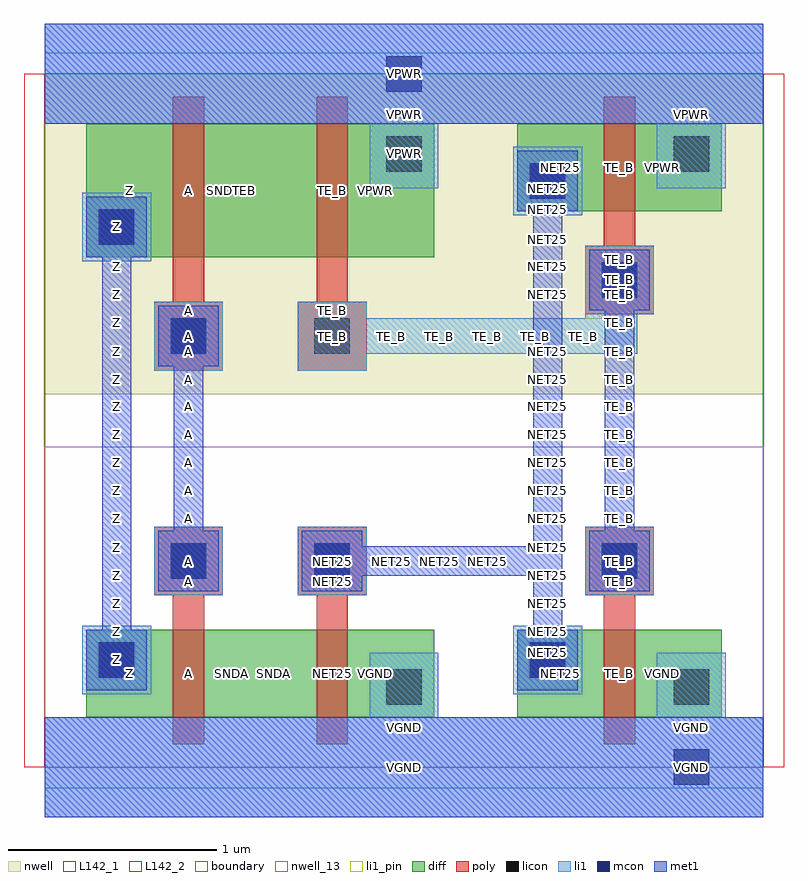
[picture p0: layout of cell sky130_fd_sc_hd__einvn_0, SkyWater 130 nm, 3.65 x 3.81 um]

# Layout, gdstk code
import gdstk
lib = gdstk.Library(unit=1e-6, precision=1e-09)
def R(c, l, rs):  # rectangles x0, y0, x1, y1
    for r in rs: c.add(gdstk.rectangle(r[:2], r[2:], *l))
def P(c, l, *ps):  # polygons
    for p in ps: c.add(gdstk.Polygon(p, *l))
nwell_13 = (64, 13)
nwell = (64, 20)
diff = (65, 20)
poly = (66, 20)
licon = (66, 44)
li1_pin = (67, 16)
li1 = (67, 20)
mcon = (67, 44)
met1 = (68, 20)
L142_1 = (142, 1)
L142_2 = (142, 2)
boundary = (235, 4)

sky130_fd_sc_hd__einvn_0 = lib.new_cell('sky130_fd_sc_hd__einvn_0')
R(sky130_fd_sc_hd__einvn_0, nwell_13, [(0,0,3.45,1.54)])
R(sky130_fd_sc_hd__einvn_0, nwell, [(0,1.79,3.45,3.33)])
R(sky130_fd_sc_hd__einvn_0, diff, [(0.2,0.24,1.87,0.66), (0.2,0.24,0.615,0.66), (0.615,0.24,1.305,0.66), (1.305,0.24,1.87,0.66), (2.27,0.24,3.25,0.66), (2.27,0.24,2.685,0.66), (2.685,0.24,3.25,0.66), (0.2,2.45,1.87,3.09), (0.2,2.45,0.615,3.09), (0.615,2.45,1.305,3.09), (1.305,2.45,1.87,3.09), (2.27,2.67,3.25,3.09), (2.27,2.67,2.685,3.09), (2.685,2.67,3.25,3.09)])
P(sky130_fd_sc_hd__einvn_0, poly, [(2.685,0.11),(2.685,0.825),(2.595,0.825),(2.595,1.155),(2.925,1.155),(2.925,0.825),(2.835,0.825),(2.835,0.11)],
  [(1.215,1.905),(1.215,2.235),(1.305,2.235),(1.305,3.22),(1.455,3.22),(1.455,2.235),(1.545,2.235),(1.545,1.905)],
  [(2.595,2.175),(2.595,2.505),(2.685,2.505),(2.685,3.22),(2.835,3.22),(2.835,2.505),(2.925,2.505),(2.925,2.175)],
  [(1.305,0.11),(1.305,0.825),(1.215,0.825),(1.215,1.155),(1.545,1.155),(1.545,0.825),(1.455,0.825),(1.455,0.11)],
  [(0.615,0.11),(0.615,0.825),(0.525,0.825),(0.525,1.155),(0.855,1.155),(0.855,0.825),(0.765,0.825),(0.765,0.11)],
  [(0.525,1.905),(0.525,2.235),(0.615,2.235),(0.615,3.22),(0.765,3.22),(0.765,2.235),(0.855,2.235),(0.855,1.905)])
R(sky130_fd_sc_hd__einvn_0, licon, [(1.64,0.3,1.81,0.47), (3.02,0.3,3.19,0.47), (0.26,0.43,0.43,0.6), (2.33,0.43,2.5,0.6), (0.605,0.905,0.775,1.075), (1.295,0.905,1.465,1.075), (2.675,0.905,2.845,1.075), (0.605,1.985,0.775,2.155), (1.295,1.985,1.465,2.155), (2.675,2.255,2.845,2.425), (0.26,2.51,0.43,2.68), (2.33,2.73,2.5,2.9), (1.64,2.86,1.81,3.03), (3.02,2.86,3.19,3.03)])
R(sky130_fd_sc_hd__einvn_0, li1_pin, [(0,-0.24,3.45,0.24), (0.18,0.35,0.51,0.68), (0.525,1.905,0.855,2.235), (0,3.09,3.45,3.57)])
P(sky130_fd_sc_hd__einvn_0, li1_pin, [(1.215,1.905),(1.215,2.235),(1.545,2.235),(1.545,2.155),(2.675,2.155),(2.675,2.175),(2.595,2.175),(2.595,2.505),(2.925,2.505),(2.925,2.175),(2.845,2.175),(2.845,1.985),(1.545,1.985),(1.545,1.905)])
R(sky130_fd_sc_hd__einvn_0, li1, [(0.18,0.35,0.51,0.68), (2.25,0.35,2.58,0.68), (0.525,0.825,0.855,1.155), (1.215,0.825,1.545,1.155), (2.595,0.825,2.925,1.155), (0.525,1.905,0.855,2.235), (2.595,2.155,2.675,2.175), (0.18,2.43,0.51,2.76), (2.25,2.65,2.58,2.98)])
P(sky130_fd_sc_hd__einvn_0, li1, [(1.56,2.78),(1.56,3.09),(0,3.09),(0,3.57),(3.45,3.57),(3.45,3.09),(3.27,3.09),(3.27,2.78),(2.94,2.78),(2.94,3.09),(1.89,3.09),(1.89,2.78)],
  [(0,-0.24),(0,0.24),(1.56,0.24),(1.56,0.55),(1.89,0.55),(1.89,0.24),(2.94,0.24),(2.94,0.55),(3.27,0.55),(3.27,0.24),(3.45,0.24),(3.45,-0.24)],
  [(1.215,1.905),(1.215,2.235),(1.545,2.235),(1.545,2.155),(2.675,2.155),(2.675,2.175),(2.595,2.175),(2.595,2.505),(2.925,2.505),(2.925,2.175),(2.845,2.175),(2.845,1.985),(1.545,1.985),(1.545,1.905)])
R(sky130_fd_sc_hd__einvn_0, mcon, [(3.02,-0.085,3.19,0.085), (0.26,0.43,0.43,0.6), (2.33,0.43,2.5,0.6), (0.605,0.905,0.775,1.075), (1.295,0.905,1.465,1.075), (2.675,0.905,2.845,1.075), (0.605,1.985,0.775,2.155), (2.675,2.255,2.845,2.425), (0.26,2.51,0.43,2.68), (2.33,2.73,2.5,2.9), (1.64,3.245,1.81,3.415)])
R(sky130_fd_sc_hd__einvn_0, met1, [(0,-0.24,3.45,0.24), (0,3.09,3.45,3.57)])
P(sky130_fd_sc_hd__einvn_0, met1, [(2.615,0.845),(2.615,1.135),(2.69,1.135),(2.69,2.195),(2.615,2.195),(2.615,2.485),(2.905,2.485),(2.905,2.195),(2.83,2.195),(2.83,1.135),(2.905,1.135),(2.905,0.845)],
  [(2.27,0.37),(2.27,0.66),(2.345,0.66),(2.345,0.92),(1.525,0.92),(1.525,0.845),(1.235,0.845),(1.235,1.135),(1.525,1.135),(1.525,1.06),(2.345,1.06),(2.345,2.67),(2.27,2.67),(2.27,2.96),(2.56,2.96),(2.56,2.67),(2.485,2.67),(2.485,0.66),(2.56,0.66),(2.56,0.37)],
  [(0.545,0.845),(0.545,1.135),(0.62,1.135),(0.62,1.925),(0.545,1.925),(0.545,2.215),(0.835,2.215),(0.835,1.925),(0.76,1.925),(0.76,1.135),(0.835,1.135),(0.835,0.845)],
  [(0.2,0.37),(0.2,0.66),(0.275,0.66),(0.275,2.45),(0.2,2.45),(0.2,2.74),(0.49,2.74),(0.49,2.45),(0.415,2.45),(0.415,0.66),(0.49,0.66),(0.49,0.37)])
R(sky130_fd_sc_hd__einvn_0, L142_1, [(0,-0.1,3.45,0), (0,3.33,3.45,3.43)])
R(sky130_fd_sc_hd__einvn_0, L142_2, [(-0.1,0,0,3.33), (3.45,0,3.55,3.33)])
R(sky130_fd_sc_hd__einvn_0, boundary, [(0,0,3.45,3.33)])
sky130_fd_sc_hd__einvn_0.add(gdstk.Label('NET25', (2.477,0.45), layer=65, texttype=20))
sky130_fd_sc_hd__einvn_0.add(gdstk.Label('VGND', (2.967,0.45), layer=65, texttype=20))
sky130_fd_sc_hd__einvn_0.add(gdstk.Label('Z', (0.407,0.45), layer=65, texttype=20))
sky130_fd_sc_hd__einvn_0.add(gdstk.Label('SNDA', (0.897,0.45), layer=65, texttype=20))
sky130_fd_sc_hd__einvn_0.add(gdstk.Label('SNDA', (1.097,0.45), layer=65, texttype=20))
sky130_fd_sc_hd__einvn_0.add(gdstk.Label('VGND', (1.587,0.45), layer=65, texttype=20))
sky130_fd_sc_hd__einvn_0.add(gdstk.Label('NET25', (2.477,0.45), layer=65, texttype=20))
sky130_fd_sc_hd__einvn_0.add(gdstk.Label('VGND', (2.967,0.45), layer=65, texttype=20))
sky130_fd_sc_hd__einvn_0.add(gdstk.Label('Z', (0.407,0.45), layer=65, texttype=20))
sky130_fd_sc_hd__einvn_0.add(gdstk.Label('SNDA', (0.897,0.45), layer=65, texttype=20))
sky130_fd_sc_hd__einvn_0.add(gdstk.Label('SNDA', (1.097,0.45), layer=65, texttype=20))
sky130_fd_sc_hd__einvn_0.add(gdstk.Label('VGND', (1.587,0.45), layer=65, texttype=20))
sky130_fd_sc_hd__einvn_0.add(gdstk.Label('NET25', (2.415,0.515), layer=65, texttype=20))
sky130_fd_sc_hd__einvn_0.add(gdstk.Label('VGND', (3.105,0.385), layer=65, texttype=20))
sky130_fd_sc_hd__einvn_0.add(gdstk.Label('VGND', (1.725,0.385), layer=65, texttype=20))
sky130_fd_sc_hd__einvn_0.add(gdstk.Label('Z', (0.345,0.515), layer=65, texttype=20))
sky130_fd_sc_hd__einvn_0.add(gdstk.Label('Z', (0.407,2.77), layer=65, texttype=20))
sky130_fd_sc_hd__einvn_0.add(gdstk.Label('SNDTEB', (0.897,2.77), layer=65, texttype=20))
sky130_fd_sc_hd__einvn_0.add(gdstk.Label('SNDTEB', (1.097,2.77), layer=65, texttype=20))
sky130_fd_sc_hd__einvn_0.add(gdstk.Label('VPWR', (1.587,2.77), layer=65, texttype=20))
sky130_fd_sc_hd__einvn_0.add(gdstk.Label('NET25', (2.477,2.88), layer=65, texttype=20))
sky130_fd_sc_hd__einvn_0.add(gdstk.Label('VPWR', (2.967,2.88), layer=65, texttype=20))
sky130_fd_sc_hd__einvn_0.add(gdstk.Label('Z', (0.407,2.77), layer=65, texttype=20))
sky130_fd_sc_hd__einvn_0.add(gdstk.Label('SNDTEB', (0.897,2.77), layer=65, texttype=20))
sky130_fd_sc_hd__einvn_0.add(gdstk.Label('SNDTEB', (1.097,2.77), layer=65, texttype=20))
sky130_fd_sc_hd__einvn_0.add(gdstk.Label('VPWR', (1.587,2.77), layer=65, texttype=20))
sky130_fd_sc_hd__einvn_0.add(gdstk.Label('NET25', (2.477,2.88), layer=65, texttype=20))
sky130_fd_sc_hd__einvn_0.add(gdstk.Label('VPWR', (2.967,2.88), layer=65, texttype=20))
sky130_fd_sc_hd__einvn_0.add(gdstk.Label('NET25', (2.415,2.815), layer=65, texttype=20))
sky130_fd_sc_hd__einvn_0.add(gdstk.Label('Z', (0.345,2.595), layer=65, texttype=20))
sky130_fd_sc_hd__einvn_0.add(gdstk.Label('VPWR', (1.725,2.945), layer=65, texttype=20))
sky130_fd_sc_hd__einvn_0.add(gdstk.Label('VPWR', (3.105,2.945), layer=65, texttype=20))
sky130_fd_sc_hd__einvn_0.add(gdstk.Label('TE_B', (2.76,0.45), layer=66, texttype=20))
sky130_fd_sc_hd__einvn_0.add(gdstk.Label('A', (0.69,0.45), layer=66, texttype=20))
sky130_fd_sc_hd__einvn_0.add(gdstk.Label('A', (0.69,2.77), layer=66, texttype=20))
sky130_fd_sc_hd__einvn_0.add(gdstk.Label('TE_B', (1.38,2.77), layer=66, texttype=20))
sky130_fd_sc_hd__einvn_0.add(gdstk.Label('NET25', (1.38,0.45), layer=66, texttype=20))
sky130_fd_sc_hd__einvn_0.add(gdstk.Label('TE_B', (2.76,2.88), layer=66, texttype=20))
sky130_fd_sc_hd__einvn_0.add(gdstk.Label('TE_B', (2.76,0.45), layer=66, texttype=20))
sky130_fd_sc_hd__einvn_0.add(gdstk.Label('A', (0.69,0.45), layer=66, texttype=20))
sky130_fd_sc_hd__einvn_0.add(gdstk.Label('A', (0.69,2.77), layer=66, texttype=20))
sky130_fd_sc_hd__einvn_0.add(gdstk.Label('TE_B', (1.38,2.77), layer=66, texttype=20))
sky130_fd_sc_hd__einvn_0.add(gdstk.Label('NET25', (1.38,0.45), layer=66, texttype=20))
sky130_fd_sc_hd__einvn_0.add(gdstk.Label('TE_B', (2.76,2.88), layer=66, texttype=20))
sky130_fd_sc_hd__einvn_0.add(gdstk.Label('NET25', (1.38,0.89), layer=66, texttype=20))
sky130_fd_sc_hd__einvn_0.add(gdstk.Label('TE_B', (2.76,0.89), layer=66, texttype=20))
sky130_fd_sc_hd__einvn_0.add(gdstk.Label('TE_B', (2.76,2.44), layer=66, texttype=20))
sky130_fd_sc_hd__einvn_0.add(gdstk.Label('TE_B', (1.38,2.195), layer=66, texttype=20))
sky130_fd_sc_hd__einvn_0.add(gdstk.Label('A', (0.69,0.89), layer=66, texttype=20))
sky130_fd_sc_hd__einvn_0.add(gdstk.Label('A', (0.69,2.195), layer=66, texttype=20))
sky130_fd_sc_hd__einvn_0.add(gdstk.Label('NET25', (1.38,0.99), layer=66, texttype=20))
sky130_fd_sc_hd__einvn_0.add(gdstk.Label('TE_B', (2.76,0.99), layer=66, texttype=20))
sky130_fd_sc_hd__einvn_0.add(gdstk.Label('TE_B', (2.76,2.34), layer=66, texttype=20))
sky130_fd_sc_hd__einvn_0.add(gdstk.Label('TE_B', (1.38,2.07), layer=66, texttype=20))
sky130_fd_sc_hd__einvn_0.add(gdstk.Label('A', (0.69,0.99), layer=66, texttype=20))
sky130_fd_sc_hd__einvn_0.add(gdstk.Label('A', (0.69,2.07), layer=66, texttype=20))
sky130_fd_sc_hd__einvn_0.add(gdstk.Label('NET25', (2.415,2.815), layer=66, texttype=44))
sky130_fd_sc_hd__einvn_0.add(gdstk.Label('Z', (0.345,2.595), layer=66, texttype=44))
sky130_fd_sc_hd__einvn_0.add(gdstk.Label('VPWR', (1.725,2.945), layer=66, texttype=44))
sky130_fd_sc_hd__einvn_0.add(gdstk.Label('VPWR', (3.105,2.945), layer=66, texttype=44))
sky130_fd_sc_hd__einvn_0.add(gdstk.Label('NET25', (2.415,0.515), layer=66, texttype=44))
sky130_fd_sc_hd__einvn_0.add(gdstk.Label('VGND', (3.105,0.385), layer=66, texttype=44))
sky130_fd_sc_hd__einvn_0.add(gdstk.Label('VGND', (1.725,0.385), layer=66, texttype=44))
sky130_fd_sc_hd__einvn_0.add(gdstk.Label('Z', (0.345,0.515), layer=66, texttype=44))
sky130_fd_sc_hd__einvn_0.add(gdstk.Label('NET25', (1.38,0.99), layer=66, texttype=44))
sky130_fd_sc_hd__einvn_0.add(gdstk.Label('TE_B', (2.76,0.99), layer=66, texttype=44))
sky130_fd_sc_hd__einvn_0.add(gdstk.Label('TE_B', (2.76,2.34), layer=66, texttype=44))
sky130_fd_sc_hd__einvn_0.add(gdstk.Label('TE_B', (1.38,2.07), layer=66, texttype=44))
sky130_fd_sc_hd__einvn_0.add(gdstk.Label('A', (0.69,0.99), layer=66, texttype=44))
sky130_fd_sc_hd__einvn_0.add(gdstk.Label('A', (0.69,2.07), layer=66, texttype=44))
sky130_fd_sc_hd__einvn_0.add(gdstk.Label('VPWR', (1.725,3.33), layer=67, texttype=20))
sky130_fd_sc_hd__einvn_0.add(gdstk.Label('VGND', (1.725,0), layer=67, texttype=20))
sky130_fd_sc_hd__einvn_0.add(gdstk.Label('VPWR', (1.725,3.33), layer=67, texttype=20))
sky130_fd_sc_hd__einvn_0.add(gdstk.Label('VGND', (1.725,0), layer=67, texttype=20))
sky130_fd_sc_hd__einvn_0.add(gdstk.Label('VGND', (3.105,0.192), layer=67, texttype=20))
sky130_fd_sc_hd__einvn_0.add(gdstk.Label('VGND', (1.725,0.192), layer=67, texttype=20))
sky130_fd_sc_hd__einvn_0.add(gdstk.Label('VPWR', (1.725,3.137), layer=67, texttype=20))
sky130_fd_sc_hd__einvn_0.add(gdstk.Label('VPWR', (3.105,3.137), layer=67, texttype=20))
sky130_fd_sc_hd__einvn_0.add(gdstk.Label('TE_B', (2.76,2.272), layer=67, texttype=20))
sky130_fd_sc_hd__einvn_0.add(gdstk.Label('TE_B', (2.76,2.137), layer=67, texttype=20))
sky130_fd_sc_hd__einvn_0.add(gdstk.Label('TE_B', (2.702,2.07), layer=67, texttype=20))
sky130_fd_sc_hd__einvn_0.add(gdstk.Label('TE_B', (2.587,2.07), layer=67, texttype=20))
sky130_fd_sc_hd__einvn_0.add(gdstk.Label('TE_B', (2.472,2.07), layer=67, texttype=20))
sky130_fd_sc_hd__einvn_0.add(gdstk.Label('TE_B', (2.357,2.07), layer=67, texttype=20))
sky130_fd_sc_hd__einvn_0.add(gdstk.Label('TE_B', (2.242,2.07), layer=67, texttype=20))
sky130_fd_sc_hd__einvn_0.add(gdstk.Label('TE_B', (2.127,2.07), layer=67, texttype=20))
sky130_fd_sc_hd__einvn_0.add(gdstk.Label('TE_B', (2.012,2.07), layer=67, texttype=20))
sky130_fd_sc_hd__einvn_0.add(gdstk.Label('TE_B', (1.897,2.07), layer=67, texttype=20))
sky130_fd_sc_hd__einvn_0.add(gdstk.Label('TE_B', (1.782,2.07), layer=67, texttype=20))
sky130_fd_sc_hd__einvn_0.add(gdstk.Label('TE_B', (1.667,2.07), layer=67, texttype=20))
sky130_fd_sc_hd__einvn_0.add(gdstk.Label('TE_B', (1.552,2.07), layer=67, texttype=20))
sky130_fd_sc_hd__einvn_0.add(gdstk.Label('TE_B', (1.437,2.07), layer=67, texttype=20))
sky130_fd_sc_hd__einvn_0.add(gdstk.Label('NET25', (2.415,0.515), layer=67, texttype=20))
sky130_fd_sc_hd__einvn_0.add(gdstk.Label('NET25', (2.415,0.515), layer=67, texttype=20))
sky130_fd_sc_hd__einvn_0.add(gdstk.Label('NET25', (2.415,2.815), layer=67, texttype=20))
sky130_fd_sc_hd__einvn_0.add(gdstk.Label('NET25', (2.415,2.815), layer=67, texttype=20))
sky130_fd_sc_hd__einvn_0.add(gdstk.Label('NET25', (1.38,0.99), layer=67, texttype=20))
sky130_fd_sc_hd__einvn_0.add(gdstk.Label('NET25', (1.38,0.99), layer=67, texttype=20))
sky130_fd_sc_hd__einvn_0.add(gdstk.Label('VGND', (3.105,0.385), layer=67, texttype=20))
sky130_fd_sc_hd__einvn_0.add(gdstk.Label('VGND', (3.105,0), layer=67, texttype=20))
sky130_fd_sc_hd__einvn_0.add(gdstk.Label('VGND', (1.725,0.385), layer=67, texttype=20))
sky130_fd_sc_hd__einvn_0.add(gdstk.Label('Z', (0.345,0.515), layer=67, texttype=20))
sky130_fd_sc_hd__einvn_0.add(gdstk.Label('Z', (0.345,0.515), layer=67, texttype=20))
sky130_fd_sc_hd__einvn_0.add(gdstk.Label('Z', (0.345,2.595), layer=67, texttype=20))
sky130_fd_sc_hd__einvn_0.add(gdstk.Label('Z', (0.345,2.595), layer=67, texttype=20))
sky130_fd_sc_hd__einvn_0.add(gdstk.Label('VPWR', (1.725,2.945), layer=67, texttype=20))
sky130_fd_sc_hd__einvn_0.add(gdstk.Label('VPWR', (1.725,3.33), layer=67, texttype=20))
sky130_fd_sc_hd__einvn_0.add(gdstk.Label('VPWR', (3.105,2.945), layer=67, texttype=20))
sky130_fd_sc_hd__einvn_0.add(gdstk.Label('TE_B', (2.76,0.99), layer=67, texttype=20))
sky130_fd_sc_hd__einvn_0.add(gdstk.Label('TE_B', (2.76,0.99), layer=67, texttype=20))
sky130_fd_sc_hd__einvn_0.add(gdstk.Label('TE_B', (2.76,2.34), layer=67, texttype=20))
sky130_fd_sc_hd__einvn_0.add(gdstk.Label('TE_B', (2.76,2.34), layer=67, texttype=20))
sky130_fd_sc_hd__einvn_0.add(gdstk.Label('TE_B', (1.38,2.07), layer=67, texttype=20))
sky130_fd_sc_hd__einvn_0.add(gdstk.Label('A', (0.69,0.99), layer=67, texttype=20))
sky130_fd_sc_hd__einvn_0.add(gdstk.Label('A', (0.69,0.99), layer=67, texttype=20))
sky130_fd_sc_hd__einvn_0.add(gdstk.Label('A', (0.69,2.07), layer=67, texttype=20))
sky130_fd_sc_hd__einvn_0.add(gdstk.Label('A', (0.69,2.07), layer=67, texttype=20))
sky130_fd_sc_hd__einvn_0.add(gdstk.Label('Z', (0.345,0.515), layer=67, texttype=5))
sky130_fd_sc_hd__einvn_0.add(gdstk.Label('TE_B', (1.38,2.07), layer=67, texttype=5))
sky130_fd_sc_hd__einvn_0.add(gdstk.Label('A', (0.69,2.07), layer=67, texttype=5))
sky130_fd_sc_hd__einvn_0.add(gdstk.Label('VGND', (1.725,0), layer=67, texttype=5))
sky130_fd_sc_hd__einvn_0.add(gdstk.Label('VPWR', (1.725,3.33), layer=67, texttype=5))
sky130_fd_sc_hd__einvn_0.add(gdstk.Label('NET25', (2.415,0.515), layer=67, texttype=44))
sky130_fd_sc_hd__einvn_0.add(gdstk.Label('NET25', (2.415,2.815), layer=67, texttype=44))
sky130_fd_sc_hd__einvn_0.add(gdstk.Label('NET25', (1.38,0.99), layer=67, texttype=44))
sky130_fd_sc_hd__einvn_0.add(gdstk.Label('VGND', (3.105,0), layer=67, texttype=44))
sky130_fd_sc_hd__einvn_0.add(gdstk.Label('Z', (0.345,0.515), layer=67, texttype=44))
sky130_fd_sc_hd__einvn_0.add(gdstk.Label('Z', (0.345,2.595), layer=67, texttype=44))
sky130_fd_sc_hd__einvn_0.add(gdstk.Label('VPWR', (1.725,3.33), layer=67, texttype=44))
sky130_fd_sc_hd__einvn_0.add(gdstk.Label('TE_B', (2.76,0.99), layer=67, texttype=44))
sky130_fd_sc_hd__einvn_0.add(gdstk.Label('TE_B', (2.76,2.34), layer=67, texttype=44))
sky130_fd_sc_hd__einvn_0.add(gdstk.Label('A', (0.69,0.99), layer=67, texttype=44))
sky130_fd_sc_hd__einvn_0.add(gdstk.Label('A', (0.69,2.07), layer=67, texttype=44))
sky130_fd_sc_hd__einvn_0.add(gdstk.Label('VPWR', (1.725,3.33), layer=68, texttype=20))
sky130_fd_sc_hd__einvn_0.add(gdstk.Label('VGND', (1.725,0), layer=68, texttype=20))
sky130_fd_sc_hd__einvn_0.add(gdstk.Label('VPWR', (1.725,3.33), layer=68, texttype=20))
sky130_fd_sc_hd__einvn_0.add(gdstk.Label('VGND', (1.725,0), layer=68, texttype=20))
sky130_fd_sc_hd__einvn_0.add(gdstk.Label('NET25', (2.415,0.55), layer=68, texttype=20))
sky130_fd_sc_hd__einvn_0.add(gdstk.Label('NET25', (2.415,0.652), layer=68, texttype=20))
sky130_fd_sc_hd__einvn_0.add(gdstk.Label('NET25', (2.415,0.787), layer=68, texttype=20))
sky130_fd_sc_hd__einvn_0.add(gdstk.Label('NET25', (2.415,0.922), layer=68, texttype=20))
sky130_fd_sc_hd__einvn_0.add(gdstk.Label('NET25', (2.415,1.057), layer=68, texttype=20))
sky130_fd_sc_hd__einvn_0.add(gdstk.Label('NET25', (2.357,0.99), layer=68, texttype=20))
sky130_fd_sc_hd__einvn_0.add(gdstk.Label('NET25', (2.415,1.192), layer=68, texttype=20))
sky130_fd_sc_hd__einvn_0.add(gdstk.Label('NET25', (2.415,1.327), layer=68, texttype=20))
sky130_fd_sc_hd__einvn_0.add(gdstk.Label('NET25', (2.415,1.462), layer=68, texttype=20))
sky130_fd_sc_hd__einvn_0.add(gdstk.Label('NET25', (2.415,1.597), layer=68, texttype=20))
sky130_fd_sc_hd__einvn_0.add(gdstk.Label('NET25', (2.415,1.732), layer=68, texttype=20))
sky130_fd_sc_hd__einvn_0.add(gdstk.Label('NET25', (2.415,1.862), layer=68, texttype=20))
sky130_fd_sc_hd__einvn_0.add(gdstk.Label('NET25', (2.415,1.997), layer=68, texttype=20))
sky130_fd_sc_hd__einvn_0.add(gdstk.Label('NET25', (2.415,2.137), layer=68, texttype=20))
sky130_fd_sc_hd__einvn_0.add(gdstk.Label('NET25', (2.415,2.272), layer=68, texttype=20))
sky130_fd_sc_hd__einvn_0.add(gdstk.Label('NET25', (2.415,2.407), layer=68, texttype=20))
sky130_fd_sc_hd__einvn_0.add(gdstk.Label('NET25', (2.415,2.535), layer=68, texttype=20))
sky130_fd_sc_hd__einvn_0.add(gdstk.Label('NET25', (2.415,2.602), layer=68, texttype=20))
sky130_fd_sc_hd__einvn_0.add(gdstk.Label('NET25', (2.415,2.677), layer=68, texttype=20))
sky130_fd_sc_hd__einvn_0.add(gdstk.Label('NET25', (2.415,2.78), layer=68, texttype=20))
sky130_fd_sc_hd__einvn_0.add(gdstk.Label('NET25', (2.242,0.99), layer=68, texttype=20))
sky130_fd_sc_hd__einvn_0.add(gdstk.Label('NET25', (2.127,0.99), layer=68, texttype=20))
sky130_fd_sc_hd__einvn_0.add(gdstk.Label('NET25', (2.012,0.99), layer=68, texttype=20))
sky130_fd_sc_hd__einvn_0.add(gdstk.Label('NET25', (1.897,0.99), layer=68, texttype=20))
sky130_fd_sc_hd__einvn_0.add(gdstk.Label('NET25', (1.782,0.99), layer=68, texttype=20))
sky130_fd_sc_hd__einvn_0.add(gdstk.Label('NET25', (1.667,0.99), layer=68, texttype=20))
sky130_fd_sc_hd__einvn_0.add(gdstk.Label('NET25', (1.552,0.99), layer=68, texttype=20))
sky130_fd_sc_hd__einvn_0.add(gdstk.Label('NET25', (1.437,0.99), layer=68, texttype=20))
sky130_fd_sc_hd__einvn_0.add(gdstk.Label('Z', (0.345,0.55), layer=68, texttype=20))
sky130_fd_sc_hd__einvn_0.add(gdstk.Label('Z', (0.345,0.652), layer=68, texttype=20))
sky130_fd_sc_hd__einvn_0.add(gdstk.Label('Z', (0.345,0.787), layer=68, texttype=20))
sky130_fd_sc_hd__einvn_0.add(gdstk.Label('Z', (0.345,0.922), layer=68, texttype=20))
sky130_fd_sc_hd__einvn_0.add(gdstk.Label('Z', (0.345,1.057), layer=68, texttype=20))
sky130_fd_sc_hd__einvn_0.add(gdstk.Label('Z', (0.345,1.192), layer=68, texttype=20))
sky130_fd_sc_hd__einvn_0.add(gdstk.Label('Z', (0.345,1.327), layer=68, texttype=20))
sky130_fd_sc_hd__einvn_0.add(gdstk.Label('Z', (0.345,1.462), layer=68, texttype=20))
sky130_fd_sc_hd__einvn_0.add(gdstk.Label('Z', (0.345,1.597), layer=68, texttype=20))
sky130_fd_sc_hd__einvn_0.add(gdstk.Label('Z', (0.345,1.732), layer=68, texttype=20))
sky130_fd_sc_hd__einvn_0.add(gdstk.Label('Z', (0.345,1.862), layer=68, texttype=20))
sky130_fd_sc_hd__einvn_0.add(gdstk.Label('Z', (0.345,1.997), layer=68, texttype=20))
sky130_fd_sc_hd__einvn_0.add(gdstk.Label('Z', (0.345,2.137), layer=68, texttype=20))
sky130_fd_sc_hd__einvn_0.add(gdstk.Label('Z', (0.345,2.272), layer=68, texttype=20))
sky130_fd_sc_hd__einvn_0.add(gdstk.Label('Z', (0.345,2.407), layer=68, texttype=20))
sky130_fd_sc_hd__einvn_0.add(gdstk.Label('Z', (0.345,2.535), layer=68, texttype=20))
sky130_fd_sc_hd__einvn_0.add(gdstk.Label('TE_B', (2.76,1.057), layer=68, texttype=20))
sky130_fd_sc_hd__einvn_0.add(gdstk.Label('TE_B', (2.76,1.192), layer=68, texttype=20))
sky130_fd_sc_hd__einvn_0.add(gdstk.Label('TE_B', (2.76,1.327), layer=68, texttype=20))
sky130_fd_sc_hd__einvn_0.add(gdstk.Label('TE_B', (2.76,1.462), layer=68, texttype=20))
sky130_fd_sc_hd__einvn_0.add(gdstk.Label('TE_B', (2.76,1.597), layer=68, texttype=20))
sky130_fd_sc_hd__einvn_0.add(gdstk.Label('TE_B', (2.76,1.732), layer=68, texttype=20))
sky130_fd_sc_hd__einvn_0.add(gdstk.Label('TE_B', (2.76,1.862), layer=68, texttype=20))
sky130_fd_sc_hd__einvn_0.add(gdstk.Label('TE_B', (2.76,1.997), layer=68, texttype=20))
sky130_fd_sc_hd__einvn_0.add(gdstk.Label('TE_B', (2.76,2.137), layer=68, texttype=20))
sky130_fd_sc_hd__einvn_0.add(gdstk.Label('TE_B', (2.76,2.272), layer=68, texttype=20))
sky130_fd_sc_hd__einvn_0.add(gdstk.Label('A', (0.69,1.057), layer=68, texttype=20))
sky130_fd_sc_hd__einvn_0.add(gdstk.Label('A', (0.69,1.192), layer=68, texttype=20))
sky130_fd_sc_hd__einvn_0.add(gdstk.Label('A', (0.69,1.327), layer=68, texttype=20))
sky130_fd_sc_hd__einvn_0.add(gdstk.Label('A', (0.69,1.462), layer=68, texttype=20))
sky130_fd_sc_hd__einvn_0.add(gdstk.Label('A', (0.69,1.597), layer=68, texttype=20))
sky130_fd_sc_hd__einvn_0.add(gdstk.Label('A', (0.69,1.732), layer=68, texttype=20))
sky130_fd_sc_hd__einvn_0.add(gdstk.Label('A', (0.69,1.862), layer=68, texttype=20))
sky130_fd_sc_hd__einvn_0.add(gdstk.Label('A', (0.69,1.997), layer=68, texttype=20))
sky130_fd_sc_hd__einvn_0.add(gdstk.Label('NET25', (2.415,0.515), layer=68, texttype=20))
sky130_fd_sc_hd__einvn_0.add(gdstk.Label('NET25', (2.415,2.815), layer=68, texttype=20))
sky130_fd_sc_hd__einvn_0.add(gdstk.Label('NET25', (1.38,0.99), layer=68, texttype=20))
sky130_fd_sc_hd__einvn_0.add(gdstk.Label('VGND', (3.105,0), layer=68, texttype=20))
sky130_fd_sc_hd__einvn_0.add(gdstk.Label('Z', (0.345,0.515), layer=68, texttype=20))
sky130_fd_sc_hd__einvn_0.add(gdstk.Label('Z', (0.345,2.595), layer=68, texttype=20))
sky130_fd_sc_hd__einvn_0.add(gdstk.Label('VPWR', (1.725,3.33), layer=68, texttype=20))
sky130_fd_sc_hd__einvn_0.add(gdstk.Label('TE_B', (2.76,0.99), layer=68, texttype=20))
sky130_fd_sc_hd__einvn_0.add(gdstk.Label('TE_B', (2.76,2.34), layer=68, texttype=20))
sky130_fd_sc_hd__einvn_0.add(gdstk.Label('A', (0.69,0.99), layer=68, texttype=20))
sky130_fd_sc_hd__einvn_0.add(gdstk.Label('A', (0.69,2.07), layer=68, texttype=20))
sky130_fd_sc_hd__einvn_0.add(gdstk.Label('VGND', (1.725,0), layer=68, texttype=5))
sky130_fd_sc_hd__einvn_0.add(gdstk.Label('VPWR', (1.725,3.33), layer=68, texttype=5))

lib.write_gds('sky130_fd_sc_hd__einvn_0.gds')
